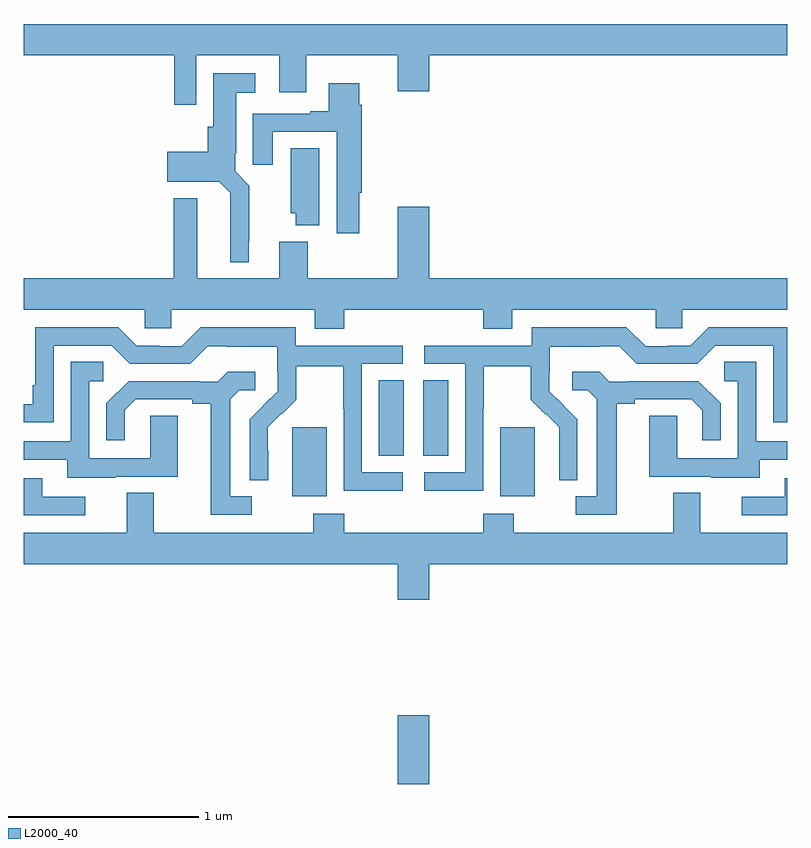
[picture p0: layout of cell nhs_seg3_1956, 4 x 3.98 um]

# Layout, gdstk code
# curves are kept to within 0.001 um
import gdstk
lib = gdstk.Library(unit=1e-6, precision=1e-09)
def R(c, l, rs):  # rectangles x0, y0, x1, y1
    for r in rs: c.add(gdstk.rectangle(r[:2], r[2:], *l))
def P(c, l, *ps):  # polygons
    for p in ps: c.add(gdstk.Polygon(p, *l))
L2000_40 = (2000, 40)

nhs_seg3_1956 = lib.new_cell('nhs_seg3_1956')
R(nhs_seg3_1956, L2000_40, [(212.96,730.4,213.124,730.759), (212.408,731.906,212.587,732.267), (213.497,731.906,213.676,732.267), (212.861,732.118,212.992,732.515), (213.092,732.118,213.223,732.515)])
P(nhs_seg3_1956, L2000_40, [(211,734.216),(211.789,734.216),(211.789,733.956),(211.905,733.956),(211.905,734.216),(212.339,734.216),(212.339,734.022),(212.479,734.022),(212.479,734.216),(212.96,734.216),(212.96,734.028),(213.124,734.028),(213.124,734.216),(215,734.216),(215,734.38),(211,734.38)],
  [(212.179,733.243),(212.183,733.243),(212.183,733.534),(212.109,733.608),(212.109,733.702),(212.113,733.702),(212.113,734.021),(212.212,734.021),(212.212,734.122),(211.994,734.122),(211.994,733.842),(211.964,733.842),(211.964,733.711),(211.752,733.711),(211.752,733.553),(212.025,733.553),(212.082,733.496),(212.081,733.133),(212.179,733.133)],
  [(212.758,733.496),(212.771,733.496),(212.771,733.958),(212.758,733.958),(212.758,734.071),(212.597,734.071),(212.597,733.924),(212.501,733.924),(212.501,733.911),(212.201,733.911),(212.201,733.644),(212.305,733.644),(212.305,733.815),(212.639,733.815),(212.639,733.284),(212.758,733.284)],
  [(212.548,733.73),(212.399,733.73),(212.399,733.389),(212.426,733.389),(212.426,733.325),(212.548,733.325)],
  [(212.678,732.884),(213.407,732.884),(213.407,732.785),(213.559,732.785),(213.559,732.884),(214.311,732.884),(214.311,732.786),(214.449,732.786),(214.449,732.884),(215,732.884),(215,733.048),(213.124,733.048),(213.124,733.423),(212.96,733.423),(212.96,733.048),(212.487,733.048),(212.487,733.24),(212.339,733.24),(212.339,733.048),(211.909,733.048),(211.909,733.468),(211.787,733.468),(211.787,733.048),(211,733.048),(211,732.884),(211.635,732.884),(211.635,732.786),(211.773,732.786),(211.773,732.884),(212.525,732.884),(212.525,732.785),(212.678,732.785)],
  [(212.986,732.033),(212.772,732.033),(212.772,732.6),(212.986,732.6),(212.986,732.696),(212.424,732.696),(212.424,732.793),(211.927,732.793),(211.827,732.693),(211.712,732.693),(211.712,732.696),(211.593,732.696),(211.497,732.792),(211.062,732.792),(211.062,732.487),(211.049,732.487),(211.049,732.39),(211,732.39),(211,732.294),(211.158,732.294),(211.158,732.696),(211.461,732.696),(211.557,732.6),(211.872,732.6),(211.965,732.693),(212.065,732.693),(212.065,732.689),(212.328,732.689),(212.328,732.555),(212.33,732.555),(212.33,732.458),(212.184,732.31),(212.184,731.992),(212.28,731.992),(212.279,732.269),(212.349,732.339),(212.352,732.336),(212.429,732.413),(212.429,732.588),(212.674,732.588),(212.674,732.364),(212.676,732.364),(212.676,731.935),(212.986,731.935)],
  [(213.408,732.364),(213.411,732.364),(213.411,732.588),(213.655,732.588),(213.655,732.413),(213.732,732.336),(213.735,732.339),(213.806,732.269),(213.806,732.146),(213.804,732.146),(213.804,731.992),(213.9,731.992),(213.9,732.31),(213.754,732.458),(213.754,732.555),(213.756,732.555),(213.756,732.689),(214.019,732.689),(214.019,732.693),(214.119,732.693),(214.212,732.6),(214.527,732.6),(214.623,732.696),(214.926,732.696),(214.926,732.294),(215,732.294),(215,732.792),(214.587,732.792),(214.491,732.696),(214.373,732.696),(214.373,732.693),(214.257,732.693),(214.157,732.793),(213.66,732.793),(213.66,732.696),(213.099,732.696),(213.099,732.6),(213.312,732.6),(213.312,732.033),(213.099,732.033),(213.099,731.935),(213.408,731.935)],
  [(214.855,732.099),(215,732.099),(215,732.195),(214.836,732.195),(214.836,732.611),(214.668,732.611),(214.668,732.51),(214.74,732.51),(214.74,732.105),(214.422,732.105),(214.422,732.329),(214.277,732.329),(214.277,732.009),(214.601,732.009),(214.601,732.005),(214.855,732.005)],
  [(211.483,732.009),(211.807,732.009),(211.807,732.329),(211.662,732.329),(211.662,732.105),(211.344,732.105),(211.344,732.51),(211.417,732.51),(211.417,732.611),(211.248,732.611),(211.248,732.195),(211,732.195),(211,732.099),(211.229,732.099),(211.229,732.005),(211.483,732.005)],
  [(212.194,731.907),(212.083,731.907),(212.083,732.415),(212.13,732.462),(212.212,732.462),(212.212,732.559),(212.068,732.559),(212.016,732.507),(211.922,732.507),(211.922,732.51),(211.55,732.51),(211.434,732.394),(211.434,732.201),(211.531,732.201),(211.531,732.357),(211.588,732.414),(211.883,732.414),(211.883,732.392),(211.979,732.392),(211.979,731.811),(212.194,731.811)],
  [(214.105,732.392),(214.201,732.392),(214.201,732.414),(214.496,732.414),(214.553,732.357),(214.553,732.201),(214.65,732.201),(214.65,732.394),(214.534,732.51),(214.162,732.51),(214.162,732.507),(214.068,732.507),(214.016,732.559),(213.873,732.559),(213.873,732.462),(213.954,732.462),(214.001,732.415),(214.001,731.907),(213.891,731.907),(213.891,731.811),(214.105,731.811)],
  [(211.324,731.904),(211.099,731.904),(211.099,732),(211,732),(211,731.808),(211.324,731.808)],
  [(215,732),(214.985,732),(214.985,731.904),(214.761,731.904),(214.761,731.808),(215,731.808)],
  [(213.124,731.552),(215,731.552),(215,731.716),(214.543,731.716),(214.543,731.924),(214.403,731.924),(214.403,731.716),(213.567,731.716),(213.567,731.815),(213.407,731.815),(213.407,731.716),(212.678,731.716),(212.678,731.815),(212.518,731.815),(212.518,731.716),(211.681,731.716),(211.681,731.924),(211.541,731.924),(211.541,731.716),(211,731.716),(211,731.552),(212.96,731.552),(212.96,731.364),(213.124,731.364)])

lib.write_gds('nhs_seg3_1956.gds')
